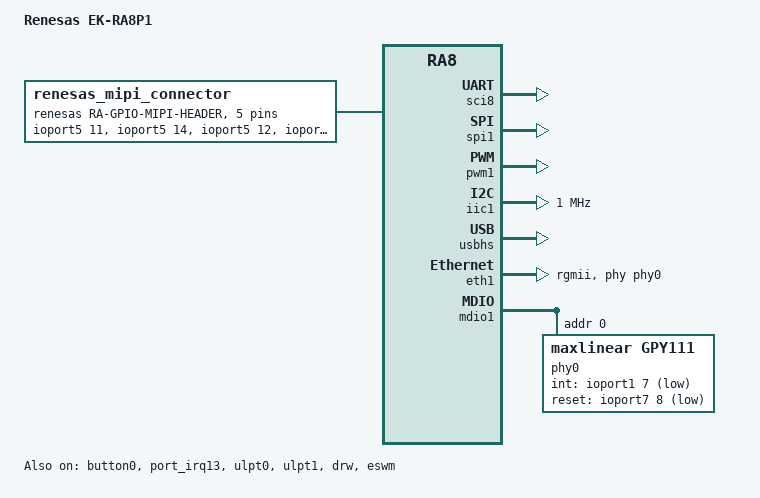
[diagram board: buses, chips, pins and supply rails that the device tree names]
/*
 * Copyright (c) 2025 Renesas Electronics Corporation
 * SPDX-License-Identifier: Apache-2.0
 */

/dts-v1/;

#include <renesas/ra/ra8/r7ka8p1kflcac_cm85.dtsi>
#include <zephyr/dt-bindings/pwm/pwm.h>
#include "ek_ra8p1.dtsi"

/ {
	model = "Renesas EK-RA8P1";
	compatible = "renesas,ra8p1", "renesas,ra8";

	chosen {
		zephyr,sram = &sram0;
		zephyr,flash = &code_mram_cm85;
		zephyr,flash-controller = &mram_ctrl;
		zephyr,code-partition = &slot0_partition;
		zephyr,console = &uart8;
		zephyr,shell-uart = &uart8;
		zephyr,entropy = &trng;
	};

	aliases {
		led0 = &led1;
		sw0 = &button0;
		mipi-dsi = &mipi_dsi;
	};

	renesas_mipi_connector: mipi-connector {
		compatible = "renesas,ra-gpio-mipi-header";
		#gpio-cells = <2>;
		gpio-map-mask = <0xffffffff 0xffffffc0>;
		gpio-map-pass-thru = <0 0x3f>;
		gpio-map = <14 0 &ioport5 11 0>, /* IIC_SDA */
			   <15 0 &ioport5 14 0>, /* DISP_BLEN */
			   <16 0 &ioport5 12 0>, /* IIC_SCL */
			   <17 0 &ioport1 11 0>, /* DISP_INT */
			   <18 0 &ioport6 6 0>;  /* DISP_RST */
	};
};

&button0 {
	status = "okay";
};

&sci8 {
	pinctrl-0 = <&sci8_default>;
	pinctrl-names = "default";
	interrupts = <0 1>, <1 1>, <2 1>, <3 1>;
	interrupt-names = "rxi", "txi", "tei", "eri";
	status = "okay";

	uart8: uart {
		current-speed = <115200>;
		status = "okay";
	};
};

&sci1 {
	pinctrl-0 = <&sci1_default>;
	pinctrl-names = "default";
	interrupts = <4 1>, <5 1>, <6 1>, <7 1>;
	interrupt-names = "rxi", "txi", "tei", "eri";

	i2c1: i2c {
		sda-output-delay = <300>;
		noise-filter-clock-select = <1>;
		bit-rate-modulation;
	};
};

&spi1 {
	pinctrl-0 = <&spi1_default>;
	pinctrl-names = "default";
	interrupts = <8 1>, <9 1>, <10 1>, <11 1>;
	interrupt-names = "rxi", "txi", "tei", "eri";
	status = "okay";
};

&pwm1 {
	pinctrl-0 = <&pwm1_default>;
	interrupts = <12 1>, <13 1>;
	interrupt-names = "gtioca", "overflow";
	pinctrl-names = "default";
	status = "okay";
};

&iic1 {
	#address-cells = <1>;
	#size-cells = <0>;
	clock-frequency = <I2C_BITRATE_FAST_PLUS>;
	pinctrl-0 = <&iic1_default>;
	pinctrl-names = "default";
	interrupts = <14 1>, <15 1>, <16 1>, <17 1>;
	interrupt-names = "rxi", "txi", "tei", "eri";
	status = "okay";
};

&port_irq13 {
	interrupts = <18 12>;
	status = "okay";
};

&ulpt0 {
	interrupts = <19 1>;
	interrupt-names = "ulpti";
	status = "okay";

	timer {
		status = "okay";
	};
};

&ulpt1 {
	status = "okay";

	timer {
		status = "okay";
	};
};

&pwm12 {
	pinctrl-0 = <&pwm12_default>;
	interrupts = <20 1>, <21 1>;
	interrupt-names = "gtioca", "overflow";
	pinctrl-names = "default";

	cam_clock: pwmclock {
		compatible = "pwm-clock";
		status = "disabled";
		#clock-cells = <1>;
		pwms = <&pwm12 0 PWM_KHZ(12000) PWM_POLARITY_NORMAL>;
	};
};

&ceu {
	pinctrl-0 = <&ceu_default>;
	pinctrl-names = "default";
	interrupts = <22 1>;
	interrupt-names = "ceui";
	clocks = <&pclka MSTPC 16>, <&cam_clock 0>;
	clock-names = "pclk", "cam-xclk";
	burst-transfer = <256>;
};

&usbhs {
	pinctrl-0 = <&usbhs_default>;
	interrupts = <23 12>;
	interrupt-names = "usbhs-ir";
	status = "okay";

	zephyr_udc0: udc {
		status = "okay";
	};

	zephyr_uhc0: uhc {
		status = "okay";
	};
};

&code_mram_cm85 {
	partitions {
		ranges;
		#address-cells = <1>;
		#size-cells = <1>;

		boot_partition: partition@0 {
			compatible = "zephyr,mapped-partition";
			label = "mcuboot";
			reg = <0x0 DT_SIZE_K(64)>;
		};

		slot0_partition: partition@10000 {
			compatible = "zephyr,mapped-partition";
			label = "image-0";
			reg = <0x10000 DT_SIZE_K(344)>;
		};

		slot1_partition: partition@66000 {
			compatible = "zephyr,mapped-partition";
			label = "image-1";
			reg = <0x66000 DT_SIZE_K(344)>;
		};

		storage_partition: partition@bc000 {
			compatible = "zephyr,mapped-partition";
			label = "storage";
			reg = <0xbc000 DT_SIZE_K(16)>;
		};
	};
};

&mipi_dsi {
	interrupts = <24 12>, <25 12>, <26 12>, <27 12>, <28 12>, <29 12>;
	interrupt-names = "sq0", "sq1", "vm", "rcv", "ferr", "ppi";
};

&lcdif {
	interrupts = <30 1>;
	interrupt-names = "line";
};

&drw {
	interrupt-names = "drw";
	interrupts = <31 12>;
	status = "okay";
};

zephyr_lcdif: &lcdif {};

zephyr_mipi_dsi: &mipi_dsi {};

renesas_mipi_i2c: &iic1 {};

pmod_sd_shield: &sdhc0 {};

arducam_ffc_40pin_i2c: &iic1 {};

arducam_ffc_40pin_dvp_interface: &ceu {};

arducam_ffc_40pin_dvp_xclk: &cam_clock {};

&eswm {
	interrupts = <24 1>;
	interrupt-names = "gwdi";
	status = "okay";
};

&eth1 {
	phy-connection-type = "rgmii";
	local-mac-address = [74 90 50 01 02 03];
	phy-clock-type = "xtal";
	phy-handle = <&phy0>;
	pinctrl-0 = <&eth1_default>;
	pinctrl-names = "default";
	status = "okay";
};

&mdio1 {
	pinctrl-0 = <&mdio1_default>;
	pinctrl-names = "default";
	status = "okay";

	phy0: phy@0 {
		compatible = "maxlinear,gpy111";
		maxlinear,interface-type = "rgmii";
		maxlinear,rx-internal-delay = "1.5";
		reg = <0>;
		int-gpios = <&ioport1 7 GPIO_ACTIVE_LOW>;
		reset-gpios = <&ioport7 8 GPIO_ACTIVE_LOW>;
		status = "okay";
	};
};

/*
 * The board's audio. J41 is fitted by default, which gives P405 and P406 to
 * the codec rather than to the parallel camera; only one of the two can have
 * them, so both are described here and left for an application to choose. The
 * codec's master clock comes from GPT2.
 */
&pwm2 {
	pinctrl-0 = <&pwm2_default>;
	pinctrl-names = "default";
	interrupts = <32 1>, <33 1>;
	interrupt-names = "gtioca", "overflow";

	/*
	 * GTIOC2A on PD06 is the codec's MCLK, and the SSIE takes the same
	 * output as its own audio clock. The timer counts a 300 MHz clock,
	 * whose closest whole divisor to a 256 * 48 kHz master clock is 24,
	 * giving 12.5 MHz: the codec and the bit clock then both land 1.7 %
	 * above 48 kHz. No divider of this board's clock tree reaches
	 * 12.288 MHz without moving a PLL that the display and USB are on.
	 */
	audio_clock: pwmclock {
		compatible = "pwm-clock";
		#clock-cells = <1>;
		clock-frequency = <12500000>;
		pwms = <&pwm2 0 PWM_HZ(12500000) PWM_POLARITY_NORMAL>;
		status = "disabled";
	};
};

/* U14's digital audio interface, which the SSIE drives both clocks of */
&i2s0 {
	pinctrl-0 = <&ssie0_default>;
	pinctrl-names = "default";
	interrupts = <34 1>, <35 1>, <36 1>;
	interrupt-names = "ssi_txi", "ssi_rxi", "ssi_if";
	clocks = <&pclkb MSTPC 8>, <&audio_clock 0>;
	clock-names = "pclk", "audio-clock";
};

/*
 * MIC1 and MIC2 share PDMDAT2 on P502 and PDMCLK2 on P812. MIC1 has its select
 * input grounded and drives the line on the rising edge, which is what channel
 * 2 reads; MIC2 is pulled up and is read by channel 0 on the falling edge.
 */
&pdm2 {
	pinctrl-0 = <&pdm2_default>;
	pinctrl-names = "default";
	interrupts = <37 1>, <38 1>;
	interrupt-names = "dat", "err";
};

&iic1 {
	/* U14, whose control port shares the bus with the display's touch panel */
	audio_codec: da7212@1a {
		compatible = "dlg,da7212";
		reg = <0x1a>;
		clocks = <&audio_clock 0>;
		clock-names = "mclk";
		clock-source = "MCLK";
		status = "disabled";
	};
};
